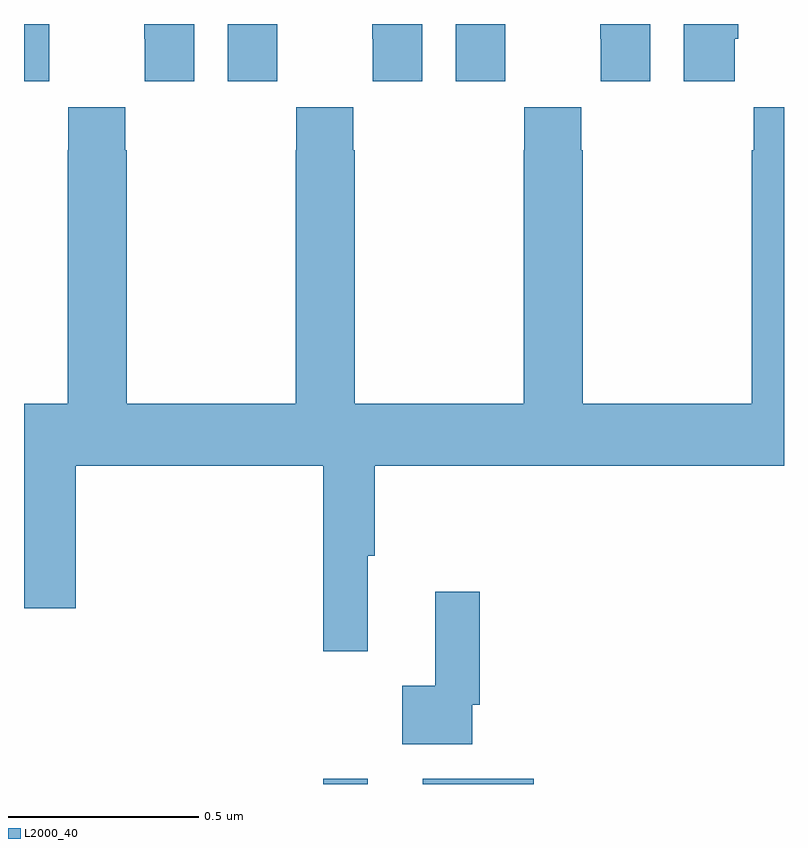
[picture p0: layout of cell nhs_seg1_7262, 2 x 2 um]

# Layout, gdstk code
import gdstk
lib = gdstk.Library(unit=1e-6, precision=1e-09)
def R(c, l, rs):  # rectangles x0, y0, x1, y1
    for r in rs: c.add(gdstk.rectangle(r[:2], r[2:], *l))
def P(c, l, *ps):  # polygons
    for p in ps: c.add(gdstk.Polygon(p, *l))
L2000_40 = (2000, 40)

nhs_seg1_7262 = lib.new_cell('nhs_seg1_7262')
R(nhs_seg1_7262, L2000_40, [(201.787,580.199,201.904,580.213), (202.049,580.199,202.342,580.213)])
P(nhs_seg1_7262, L2000_40, [(201.066,582.16),(201.067,582.16),(201.067,582.199),(201,582.199),(201,582.048),(201.066,582.048)],
  [(201.448,582.199),(201.317,582.199),(201.317,582.16),(201.318,582.16),(201.318,582.048),(201.448,582.048)],
  [(201.666,582.16),(201.667,582.16),(201.667,582.199),(201.536,582.199),(201.536,582.048),(201.666,582.048)],
  [(202.048,582.199),(201.917,582.199),(201.917,582.16),(201.918,582.16),(201.918,582.048),(202.048,582.048)],
  [(202.266,582.16),(202.267,582.16),(202.267,582.199),(202.136,582.199),(202.136,582.048),(202.266,582.048)],
  [(202.648,582.199),(202.517,582.199),(202.517,582.16),(202.518,582.16),(202.518,582.048),(202.648,582.048)],
  [(202.87,582.16),(202.88,582.16),(202.88,582.199),(202.736,582.199),(202.736,582.048),(202.87,582.048)],
  [(201.905,580.8),(201.923,580.8),(201.923,581.036),(203,581.036),(203,581.98),(202.921,581.98),(202.921,581.867),(202.915,581.867),(202.915,581.2),(202.47,581.2),(202.47,581.867),(202.467,581.867),(202.467,581.98),(202.317,581.98),(202.317,581.867),(202.315,581.867),(202.315,581.2),(201.87,581.2),(201.87,581.867),(201.867,581.867),(201.867,581.98),(201.717,581.98),(201.717,581.867),(201.715,581.867),(201.715,581.2),(201.27,581.2),(201.27,581.867),(201.267,581.867),(201.267,581.98),(201.117,581.98),(201.117,581.867),(201.115,581.867),(201.115,581.2),(201,581.2),(201,580.662),(201.136,580.662),(201.136,581.036),(201.787,581.036),(201.787,580.548),(201.905,580.548)],
  [(202.179,580.408),(202.199,580.408),(202.199,580.705),(202.082,580.705),(202.082,580.457),(201.996,580.457),(201.996,580.304),(202.179,580.304)])

lib.write_gds('nhs_seg1_7262.gds')
